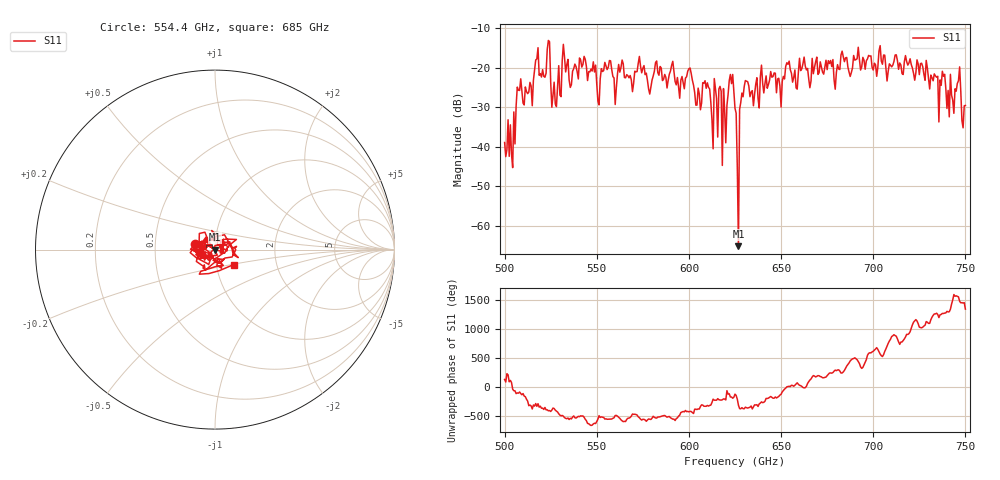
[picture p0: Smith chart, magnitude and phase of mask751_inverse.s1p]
!Created with skrf (http://scikit-rf.org).
# GHz S MA R 50.0
!freq magS11 angS11
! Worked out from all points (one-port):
!   401 points, 500 GHz to 750 GHz, reference 50 ohm
!   lowest |S11| = -65.2 dB at 626.9 GHz (marker M1), VSWR 1.00, Z = 50 + j0.0367 ohm
!   |S11| at or under -10 dB: start of sweep to end of sweep
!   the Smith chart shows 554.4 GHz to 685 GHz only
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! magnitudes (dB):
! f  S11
! 500 GHz  -38.9
! 505 GHz  -31.2
! 507.5 GHz  -25.7
! 513.8 GHz  -23.7
! 516.9 GHz  -18.0
! 523.8 GHz  -13.1
! 526.9 GHz  -23.7
! 531.2 GHz  -18.3
! 542.5 GHz  -19.1
! 551.2 GHz  -29.4
! 562.5 GHz  -21.1
! 593.8 GHz  -22.5
! 600.6 GHz  -20.1
! 605 GHz  -25.2
! 608.8 GHz  -23.3
! 619.4 GHz  -30.7
! 623.1 GHz  -24.0
! 625 GHz  -30.3
! 625.6 GHz  -31.5
! 626.9 GHz  -65.2
! 628.8 GHz  -26.4
! 631.2 GHz  -23.4
! 656.2 GHz  -23.6
! 687.5 GHz  -22.2
! 718.8 GHz  -19.3
! 742.5 GHz  -26.9
! 746.2 GHz  -23.3
! 750 GHz  -29.6
